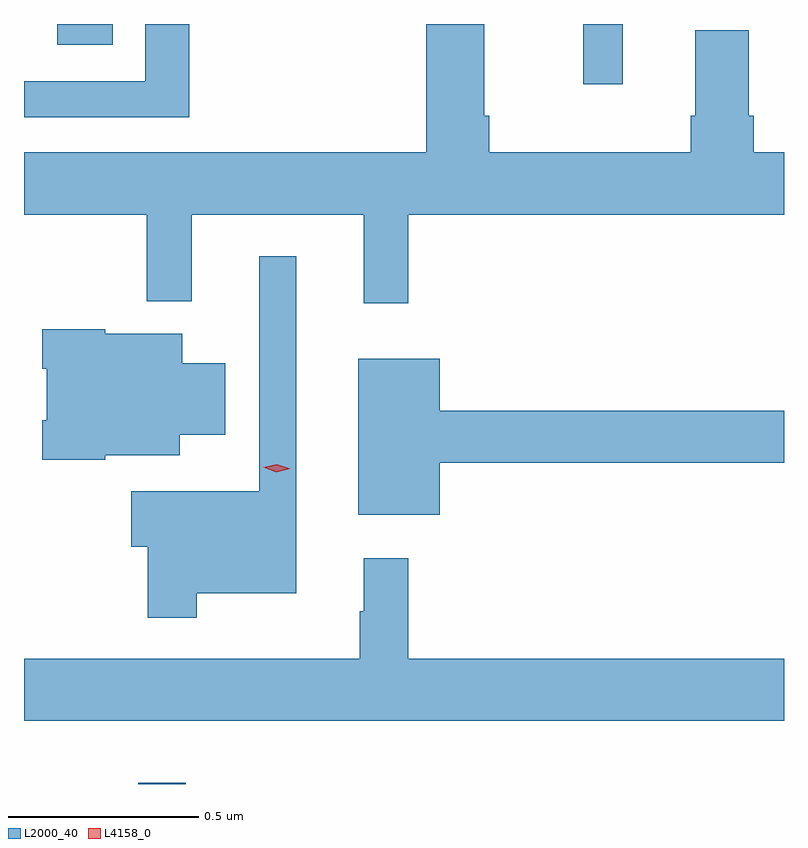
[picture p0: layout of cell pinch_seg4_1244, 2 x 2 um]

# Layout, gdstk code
import gdstk
lib = gdstk.Library(unit=1e-6, precision=1e-09)
def R(c, l, rs):  # rectangles x0, y0, x1, y1
    for r in rs: c.add(gdstk.rectangle(r[:2], r[2:], *l))
def P(c, l, *ps):  # polygons
    for p in ps: c.add(gdstk.Polygon(p, *l))
L2000_40 = (2000, 40)
L4158_0 = (4158, 0)

pinch_seg4_1244 = lib.new_cell('pinch_seg4_1244')
R(pinch_seg4_1244, L2000_40, [(317.876,809.974,318.001,809.977), (319.048,811.815,319.151,811.974), (317.664,811.92,317.81,811.974)])
P(pinch_seg4_1244, L2000_40, [(318.011,811.974),(317.895,811.974),(317.895,811.824),(317.576,811.824),(317.576,811.728),(318.011,811.728)],
  [(318.587,811.472),(319.576,811.472),(319.576,811.636),(319.496,811.636),(319.496,811.732),(319.483,811.732),(319.483,811.957),(319.343,811.957),(319.343,811.732),(319.331,811.732),(319.331,811.636),(318.8,811.636),(318.8,811.732),(318.787,811.732),(318.787,811.974),(318.635,811.974),(318.635,811.636),(317.576,811.636),(317.576,811.472),(317.899,811.472),(317.899,811.244),(318.017,811.244),(318.017,811.472),(318.47,811.472),(318.47,811.239),(318.587,811.239)],
  [(318.031,810.476),(318.292,810.476),(318.292,811.363),(318.195,811.363),(318.195,810.745),(317.858,810.745),(317.858,810.598),(317.902,810.598),(317.902,810.411),(318.031,810.411)],
  [(317.79,810.839),(317.986,810.839),(317.986,810.893),(318.106,810.893),(318.106,811.081),(317.992,811.081),(317.992,811.159),(317.79,811.159),(317.79,811.171),(317.624,811.171),(317.624,811.067),(317.636,811.067),(317.636,810.931),(317.624,810.931),(317.624,810.827),(317.79,810.827)],
  [(318.67,810.82),(319.576,810.82),(319.576,810.956),(318.67,810.956),(318.67,811.093),(318.455,811.093),(318.455,810.683),(318.67,810.683)],
  [(319.576,810.304),(318.587,810.304),(318.587,810.568),(318.47,810.568),(318.47,810.428),(318.459,810.428),(318.459,810.304),(317.576,810.304),(317.576,810.14),(319.576,810.14)])
P(pinch_seg4_1244, L4158_0, [(318.24,810.795),(318.206,810.807),(318.205,810.807),(318.206,810.807),(318.241,810.815),(318.276,810.804),(318.276,810.803),(318.276,810.803)])

lib.write_gds('pinch_seg4_1244.gds')
